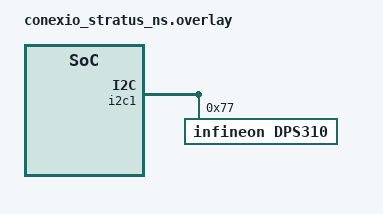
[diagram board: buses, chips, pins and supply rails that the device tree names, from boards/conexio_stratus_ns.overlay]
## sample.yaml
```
sample:
  name: DP310 Sensor sample
tests:
  sample.sensor.dps310:
    harness: console
    tags: sensors
    depends_on: i2c
    harness_config:
        type: one_line
        regex:
            - "temp: (.*); press: (.*);"
        fixture: fixture_i2c_dps310
```

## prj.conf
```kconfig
# Configuration related to I2C
CONFIG_I2C=y

# Configuration related to external sensors.
CONFIG_SENSOR=y

# DPS310 temperature and pressure sensor
CONFIG_DPS310=y

# Enable Zephyr application to be booted by MCUboot
CONFIG_BOOTLOADER_MCUBOOT=y
```

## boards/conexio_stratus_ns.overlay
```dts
/*
 * Copyright (c) 2021 Conexio Technologies, Inc
 *
 * SPDX-License-Identifier: Apache-2.0
 */

/* Board overlay for interfacing DPS310 sensor via the Stratus shield or I2C Pins 
 * SDA: 26, SDL: 27, Sensor I2C Address: 0x77
 */
 
&i2c1 {
	status = "okay";
	DPS310@77 {
		compatible = "infineon,dps310";
		reg = <0x77>;
		label = "DPS310";
	};
};
```

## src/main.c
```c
/*
 * Copyright (c) 2019 Infineon Technologies AG
 * Copyright (c) 2021 Conexio Technologies, Inc
 *
 * SPDX-License-Identifier: Apache-2.0
 */

#include <zephyr.h>
#include <device.h>
#include <drivers/sensor.h>
#include <devicetree.h>
#include <stdlib.h>

void main(void)
{
	printk("Conexio Stratus DPS310 sensor example");
	
    /* Get the device binding for the DPS310 */
	const struct device *dev = device_get_binding(DT_LABEL(DT_INST(0, infineon_dps310)));

	if (dev == NULL) {
		printk("Could not get DPS310 device\n");
		return;
	}

	printk("dev %p name %s\n", dev, dev->name);

	while (1) {
		/* Fetch sensor samples every 3 seconds */
		k_sleep(K_MSEC(3000));

		struct sensor_value temp, press;

		sensor_sample_fetch(dev);
		sensor_channel_get(dev, SENSOR_CHAN_AMBIENT_TEMP, &temp);
		sensor_channel_get(dev, SENSOR_CHAN_PRESS, &press);

		printk("Temp: %d.%06d degC; Presssure: %d.%06d kPa\n",
		      temp.val1, abs(temp.val2), press.val1, press.val2);
	}
}
```
